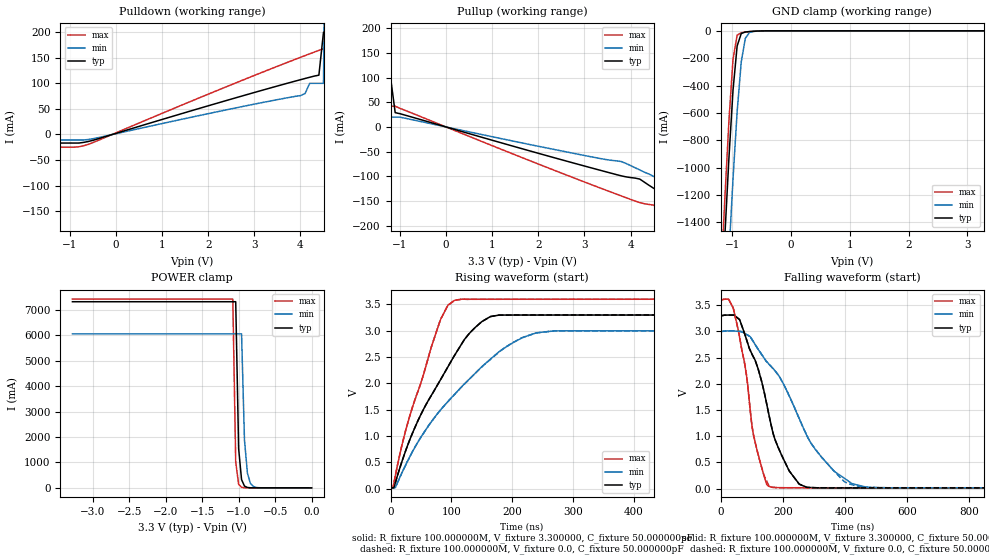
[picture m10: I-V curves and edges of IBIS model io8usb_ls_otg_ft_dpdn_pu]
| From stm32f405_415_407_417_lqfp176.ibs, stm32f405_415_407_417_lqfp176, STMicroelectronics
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|   Model io8usb_ls_otg_ft_dpdn_pu
[Model]  io8usb_ls_otg_ft_dpdn_pu
Model_type I/O
Polarity   Non-Inverting
Enable   Active-Low
Vinl =   0.990000V
Vinh =   2.310000V
Vmeas =  1.650000V
Cref =   50.000000pF
Rref =   100.000000M
Vref =   0.0V
C_comp   8.255900pF   7.991100pF   8.650600pF
[Temperature Range]   25.000000   0.125000k   -40.000000
[Pullup Reference]   3.300000V   3.000000V   3.600000V
[Pulldown Reference]   0.0V   0.0V   0.0V
[POWER Clamp Reference]   3.300000V   3.000000V   3.600000V
[GND Clamp Reference]   0.0V   0.0V   0.0V
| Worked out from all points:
|   slope of the pulldown table from 0 to 0.495 V, typ, clamps not added: 36.6 ohm
|   slope of the pullup table from 0 to 0.495 V, typ, clamps not added: 37 ohm
|   GND clamp passes 1 mA (typ) near -0.52 V on its own axis
|   POWER clamp passes 1 mA (typ) near -0.77 V on its own axis
|   rising waveform, R_fixture 100.000000M, V_fixture 3.300000, C_fixture 50.000000pF: 20-80 % time 87.8ns typ, 127ns min, 55.7ns max; typ from 0.014 V to 3.3 V
|   rising waveform, R_fixture 100.000000M, V_fixture 0.0, C_fixture 50.000000pF: 20-80 % time 87.8ns typ, 127ns min, 55.6ns max; typ from 0.014 V to 3.3 V
|   falling waveform, R_fixture 100.000000M, V_fixture 3.300000, C_fixture 50.000000pF: 20-80 % time 98.9ns typ, 172ns min, 56ns max; typ from 3.3 V to 0.014 V
|   falling waveform, R_fixture 100.000000M, V_fixture 0.0, C_fixture 50.000000pF: 20-80 % time 98.9ns typ, 172ns min, 56.1ns max; typ from 3.3 V to 0.014 V
[Pulldown]
|Voltage   I(typ)   I(min)   I(max)
-3.3V     -180mA     -10.83mA   -24.93mA
-3.2V     -16.8mA    -10.83mA   -24.93mA
-700mV    -15.57mA   -10.83mA   -22.18mA
4V        107.1mA    76mA       150.9mA
4.1V      109.5mA    80mA       154.3mA
4.2V      111.9mA    100mA      157.7mA
4.4V      116mA      100mA      164.4mA
4.5V      200mA      100mA      167.8mA
4.6V      200mA      1A         171mA
4.7V      200mA      1A         174mA
4.8V      1A         1A         200mA
6.6V      1A         1A         1A
[Pullup]
|Voltage   I(typ)   I(min)   I(max)
-3.3V     1A         1A         1A
-1.9V     1A         1A         1A
-1.8V     100mA      1A         1A
-1.7V     100mA      1A         100mA
-1.6V     100mA      1A         100mA
-1.5V     100mA      20mA       100mA
-1.3V     100mA      20mA       100mA
-1.2V     100mA      20mA       42mA
-1.1V     29mA       20mA       42mA
3.8V      -99.16mA   -70.22mA   -139.9mA
5V        -154.1mA   -123mA     -199.7mA
6.6V      -219mA     -159mA     -316mA
[GND_clamp]
|Voltage   I(typ)   I(min)   I(max)
-3.3V     -9.433A    -9.435A    -9.911A
-1.2V     -2.116A    -2.846A    -1.847A
-1.13V    -1.505A    -2.23A     -1.23A
-1.06V    -930.4mA   -1.637A    -658.9mA
-990mV    -432.7mA   -1.08A     -207.3mA
-920mV    -110.5mA   -590.3mA   -31.59mA
-850mV    -19.84mA   -226.8mA   -13.66mA
-780mV    -8.32mA    -54.05mA   -9.516mA
-710mV    -5.29mA    -11.97mA   -6.271mA
-640mV    -3.236mA   -4.296mA   -3.584mA
3.28V     0A         0A         0A
[POWER_clamp]
|Voltage   I(typ)   I(min)   I(max)
-3.28V    7.329A     6.065A     7.432A
-1.08V    7.329A     6.065A     7.432A
-1.04V    7.329A     6.065A     1.016A
-1V       1.546A     6.065A     140mA
-960mV    326.6mA    6.065A     20.26mA
-920mV    69.53mA    1.891A     3.845mA
-880mV    15.31mA    589.6mA    1.536mA
-840mV    3.837mA    184.1mA    1.157mA
-800mV    1.378mA    57.75mA    1.042mA
-720mV    664.9uA    6.031mA    894.5uA
0V        184.3nA    121.7nA    386.5nA
[Ramp]
| variable   typ   min   max
dV/dt_r  1.44862/0.11030u   1.20126/0.19832u   1.71167/65.88388n
dV/dt_f  1.45265/94.68763n   1.20371/0.16612u   1.71380/55.17967n
R_load = 100.000000
[Rising Waveform]
R_fixture= 100.000000M
V_fixture= 3.300000
V_fixture_min= 3.000000
V_fixture_max= 3.600000
C_fixture= 50.000000pF
|time   V(typ)   V(min)   V(max)
0s        14.13mV    14.39mV    16.06mV
4.004ns   13.63mV    14.38mV    22.76mV
29.36ns   862.3mV    554.7mV    1.295V
81.41ns   2.056V     1.484V     3.19V
105.4ns   2.538V     1.794V     3.581V
129.5ns   2.949V     2.082V     3.599V
164.2ns   3.271V     2.46V      3.6V
217.6ns   3.3V       2.872V     3.6V
269.6ns   3.3V       2.998V     3.6V
1.333us   3.3V       3V         3.6V
[Rising Waveform]
R_fixture= 100.000000M
V_fixture= 0.0
V_fixture_min= 0.0
V_fixture_max= 0.0
C_fixture= 50.000000pF
|time   V(typ)   V(min)   V(max)
0s        14.13mV    14.39mV    16.06mV
4.004ns   13.63mV    14.38mV    22.76mV
29.36ns   862.3mV    554.7mV    1.295V
81.41ns   2.056V     1.484V     3.195V
105.4ns   2.537V     1.794V     3.578V
129.5ns   2.949V     2.08V      3.599V
164.2ns   3.27V      2.456V     3.599V
216.2ns   3.3V       2.869V     3.6V
269.6ns   3.3V       2.999V     3.6V
1.333us   3.3V       3V         3.6V
[Falling Waveform]
R_fixture= 100.000000M
V_fixture= 3.300000
V_fixture_min= 3.000000
V_fixture_max= 3.600000
C_fixture= 50.000000pF
|time   V(typ)   V(min)   V(max)
0s        3.3V       3V         3.6V
41.37ns   3.311V     3.009V     3.418V
76.08ns   2.971V     2.964V     2.424V
105.4ns   2.509V     2.799V     1.028V
153.5ns   1.455V     2.385V     46.36mV
184.2ns   796mV      2.176V     17.84mV
252.3ns   88.57mV    1.341V     16.08mV
324.3ns   14.94mV    600.9mV    16.07mV
423.1ns   14.11mV    92.78mV    16.06mV
1.333us   14.12mV    14.36mV    16.06mV
[Falling Waveform]
R_fixture= 100.000000M
V_fixture= 0.0
V_fixture_min= 0.0
V_fixture_max= 0.0
C_fixture= 50.000000pF
|time   V(typ)   V(min)   V(max)
0s        3.3V       3V         3.6V
41.37ns   3.311V     3.009V     3.418V
76.08ns   2.971V     2.964V     2.424V
106.8ns   2.494V     2.787V     989.3mV
156.2ns   1.38V      2.368V     44.55mV
196.2ns   634.4mV    2.058V     16.76mV
252.3ns   86.81mV    1.341V     16.05mV
304.3ns   16.82mV    750mV      16.08mV
408.4ns   14.1mV     99.02mV    16.06mV
1.333us   14.12mV    14.39mV    16.07mV
